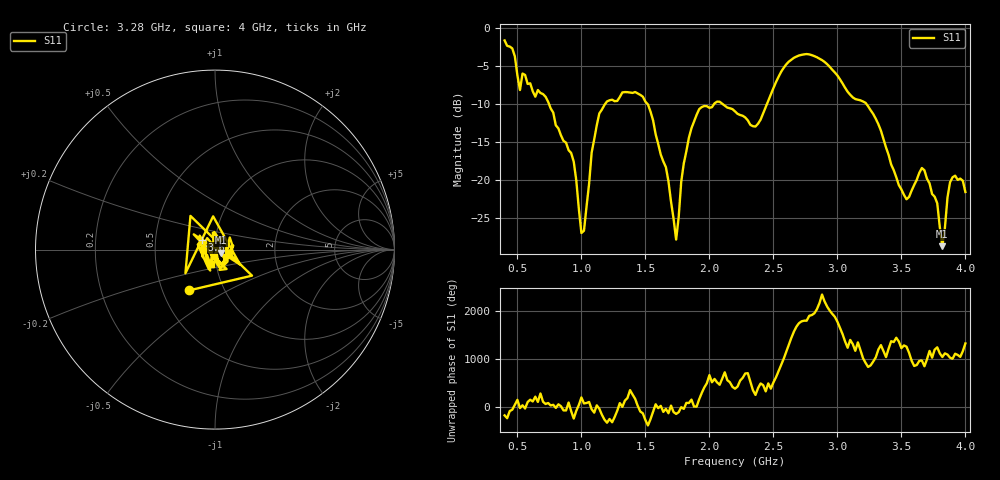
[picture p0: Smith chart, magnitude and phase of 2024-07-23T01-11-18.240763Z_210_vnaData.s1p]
!Created with skrf (http://scikit-rf.org).
# Hz S RI R 50.0
!freq ReS11 ImS11
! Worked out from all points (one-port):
!   181 points, 400 MHz to 4 GHz, reference 50 ohm
!   lowest |S11| = -28.7 dB at 3.82 GHz (marker M1), VSWR 1.08, Z = 53.3 - j1.88 ohm
!   |S11| at or under -10 dB: 746.3 MHz to 1.186 GHz (439.9 MHz wide, 45.5 % of centre); 1.516 GHz to 2.037 GHz (521.5 MHz wide, 29.4 % of centre); 3.226 GHz to end of sweep (the widest 3 of 4)
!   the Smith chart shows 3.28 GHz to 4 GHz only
!   S11 on the Smith chart (normalised r, x): 3.28 GHz: 0.68, -0.33; 3.6 GHz: 0.86, +0.09; 4 GHz: 0.94, -0.15
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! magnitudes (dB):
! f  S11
! 400 MHz  -1.6
! 480 MHz  -3.7
! 520 MHz  -8.2
! 540 MHz  -6.0
! 720 MHz  -9.1
! 860 MHz  -14.9
! 940 MHz  -17.6
! 1 GHz  -27.0
! 1.14 GHz  -11.3
! 1.3 GHz  -9.1
! 1.52 GHz  -10.1
! 1.66 GHz  -18.3
! 1.74 GHz  -27.9
! 1.76 GHz  -24.9
! 1.8 GHz  -17.8
! 1.92 GHz  -10.7
! 2.2 GHz  -11.0
! 2.36 GHz  -13.0
! 2.66 GHz  -3.9
! 3.1 GHz  -8.8
! 3.28 GHz  -11.3
! 3.56 GHz  -22.3
! 3.6 GHz  -20.7
! 3.68 GHz  -18.8
! 3.78 GHz  -23.1
! 3.82 GHz  -28.7
! 3.88 GHz  -20.3
! 4 GHz  -21.6
